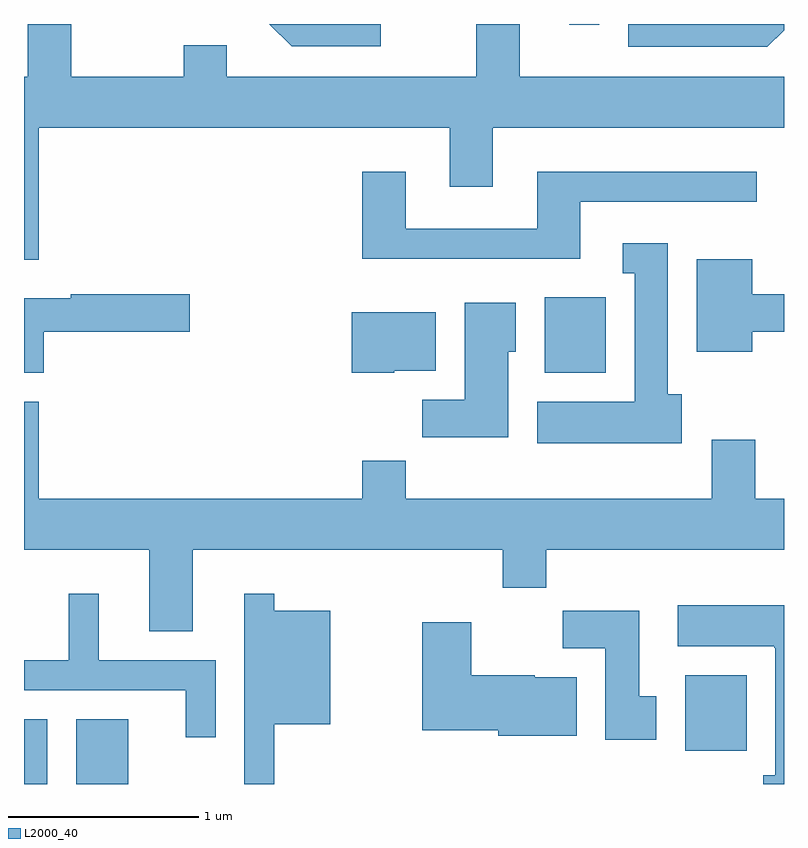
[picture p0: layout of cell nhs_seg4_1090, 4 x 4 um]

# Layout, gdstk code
import gdstk
lib = gdstk.Library(unit=1e-6, precision=1e-09)
def R(c, l, rs):  # rectangles x0, y0, x1, y1
    for r in rs: c.add(gdstk.rectangle(r[:2], r[2:], *l))
def P(c, l, *ps):  # polygons
    for p in ps: c.add(gdstk.Polygon(p, *l))
L2000_40 = (2000, 40)

nhs_seg4_1090 = lib.new_cell('nhs_seg4_1090')
R(nhs_seg4_1090, L2000_40, [(217.611,1257.982,217.734,1258.324), (217.886,1257.982,218.159,1258.324), (221.091,1258.156,221.414,1258.554), (220.351,1260.146,220.674,1260.544), (220.481,1261.978,220.639,1261.982)])
P(nhs_seg4_1090, L2000_40, [(217.689,1261.436),(219.851,1261.436),(219.851,1261.126),(220.079,1261.126),(220.079,1261.436),(221.611,1261.436),(221.611,1261.704),(220.219,1261.704),(220.219,1261.982),(219.991,1261.982),(219.991,1261.704),(218.679,1261.704),(218.679,1261.869),(218.451,1261.869),(218.451,1261.704),(217.859,1261.704),(217.859,1261.982),(217.631,1261.982),(217.631,1261.704),(217.611,1261.704),(217.611,1260.741),(217.689,1260.741)],
  [(221.611,1261.95),(221.611,1261.982),(220.791,1261.982),(220.791,1261.861),(221.522,1261.861)],
  [(219.488,1261.982),(218.903,1261.982),(219.019,1261.866),(219.488,1261.866)],
  [(220.539,1261.046),(221.468,1261.046),(221.468,1261.204),(220.311,1261.204),(220.311,1260.904),(219.619,1260.904),(219.619,1261.204),(219.391,1261.204),(219.391,1260.746),(220.539,1260.746)],
  [(221.074,1260.034),(220.999,1260.034),(220.999,1260.829),(220.763,1260.829),(220.763,1260.671),(220.826,1260.671),(220.826,1259.994),(220.311,1259.994),(220.311,1259.776),(221.074,1259.776)],
  [(221.444,1260.361),(221.611,1260.361),(221.611,1260.559),(221.444,1260.559),(221.444,1260.744),(221.151,1260.744),(221.151,1260.256),(221.444,1260.256)],
  [(217.714,1260.361),(218.484,1260.361),(218.484,1260.559),(217.856,1260.559),(217.856,1260.539),(217.611,1260.539),(217.611,1260.146),(217.714,1260.146)],
  [(220.159,1260.256),(220.199,1260.256),(220.199,1260.514),(219.931,1260.514),(219.931,1260.004),(219.706,1260.004),(219.706,1259.806),(220.159,1259.806)],
  [(219.56,1260.156),(219.779,1260.156),(219.779,1260.464),(219.336,1260.464),(219.336,1260.146),(219.56,1260.146)],
  [(218.499,1259.216),(220.131,1259.216),(220.131,1259.016),(220.359,1259.016),(220.359,1259.216),(221.611,1259.216),(221.611,1259.484),(221.459,1259.484),(221.459,1259.794),(221.231,1259.794),(221.231,1259.484),(219.619,1259.484),(219.619,1259.684),(219.391,1259.684),(219.391,1259.484),(217.689,1259.484),(217.689,1259.994),(217.611,1259.994),(217.611,1259.216),(218.271,1259.216),(218.271,1258.786),(218.499,1258.786)],
  [(218.929,1258.296),(219.224,1258.296),(219.224,1258.894),(218.929,1258.894),(218.929,1258.983),(218.771,1258.983),(218.771,1257.982),(218.929,1257.982)],
  [(218.619,1258.634),(218.004,1258.634),(218.004,1258.983),(217.846,1258.983),(217.846,1258.634),(217.611,1258.634),(217.611,1258.476),(218.461,1258.476),(218.461,1258.228),(218.619,1258.228)],
  [(221.611,1258.924),(221.051,1258.924),(221.051,1258.706),(221.56,1258.706),(221.56,1258.7),(221.566,1258.7),(221.566,1258.029),(221.503,1258.029),(221.503,1257.982),(221.611,1257.982)],
  [(220.939,1258.444),(220.849,1258.444),(220.849,1258.894),(220.446,1258.894),(220.446,1258.696),(220.671,1258.696),(220.671,1258.216),(220.939,1258.216)],
  [(220.519,1258.544),(220.3,1258.544),(220.3,1258.554),(219.964,1258.554),(219.964,1258.834),(219.706,1258.834),(219.706,1258.266),(220.106,1258.266),(220.106,1258.236),(220.519,1258.236)])

lib.write_gds('nhs_seg4_1090.gds')
